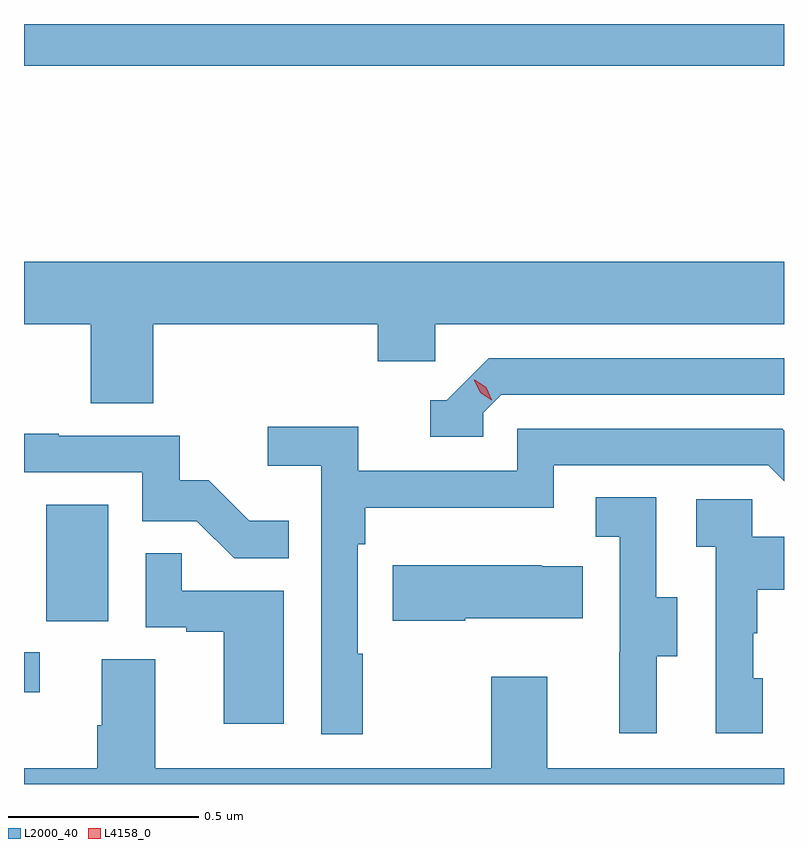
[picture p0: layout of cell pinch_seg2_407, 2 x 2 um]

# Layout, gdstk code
import gdstk
lib = gdstk.Library(unit=1e-6, precision=1e-09)
def R(c, l, rs):  # rectangles x0, y0, x1, y1
    for r in rs: c.add(gdstk.rectangle(r[:2], r[2:], *l))
def P(c, l, *ps):  # polygons
    for p in ps: c.add(gdstk.Polygon(p, *l))
L2000_40 = (2000, 40)
L4158_0 = (4158, 0)

pinch_seg2_407 = lib.new_cell('pinch_seg2_407')
R(pinch_seg2_407, L2000_40, [(969.79,622.692,969.832,622.797), (969.848,622.878,970.012,623.185), (969.79,624.34,971.79,624.45)])
P(pinch_seg2_407, L2000_40, [(970.13,623.66),(970.721,623.66),(970.721,623.562),(970.872,623.562),(970.872,623.66),(971.79,623.66),(971.79,623.824),(969.79,623.824),(969.79,623.66),(969.965,623.66),(969.965,623.452),(970.13,623.452)],
  [(970.998,623.427),(971.046,623.475),(971.79,623.475),(971.79,623.571),(971.013,623.571),(970.902,623.46),(970.859,623.46),(970.859,623.364),(970.998,623.364)],
  [(970.681,622.793),(970.668,622.793),(970.668,623.081),(970.688,623.081),(970.688,623.177),(971.184,623.177),(971.184,623.289),(971.748,623.289),(971.79,623.247),(971.79,623.38),(971.785,623.385),(971.088,623.385),(971.088,623.274),(970.67,623.274),(970.67,623.39),(970.431,623.39),(970.431,623.288),(970.572,623.288),(970.572,622.581),(970.681,622.581)],
  [(970.487,623.143),(970.383,623.143),(970.276,623.25),(970.2,623.25),(970.2,623.367),(969.881,623.367),(969.881,623.372),(969.79,623.372),(969.79,623.271),(970.101,623.271),(970.101,623.142),(970.245,623.142),(970.343,623.044),(970.487,623.044)],
  [(971.455,622.786),(971.509,622.786),(971.509,622.941),(971.454,622.941),(971.454,623.204),(971.295,623.204),(971.295,623.101),(971.358,623.101),(971.358,622.797),(971.357,622.797),(971.357,622.584),(971.455,622.584)],
  [(971.734,622.728),(971.709,622.728),(971.709,622.847),(971.719,622.847),(971.719,622.961),(971.79,622.961),(971.79,623.101),(971.706,623.101),(971.706,623.199),(971.559,623.199),(971.559,623.075),(971.61,623.075),(971.61,622.584),(971.734,622.584)],
  [(970.474,622.959),(970.205,622.959),(970.205,623.057),(970.11,623.057),(970.11,622.863),(970.217,622.863),(970.217,622.851),(970.316,622.851),(970.316,622.608),(970.474,622.608)],
  [(970.951,622.886),(971.261,622.886),(971.261,623.023),(971.153,623.023),(971.153,623.026),(970.76,623.026),(970.76,622.879),(970.951,622.879)],
  [(971.79,622.492),(971.167,622.492),(971.167,622.732),(971.02,622.732),(971.02,622.492),(970.135,622.492),(970.135,622.778),(969.995,622.778),(969.995,622.604),(969.983,622.604),(969.983,622.492),(969.79,622.492),(969.79,622.45),(971.79,622.45)])
P(pinch_seg2_407, L4158_0, [(971.021,623.46),(970.991,623.48),(970.975,623.513),(970.975,623.514),(970.976,623.514),(971.006,623.494),(971.021,623.461),(971.021,623.46)])

lib.write_gds('pinch_seg2_407.gds')
